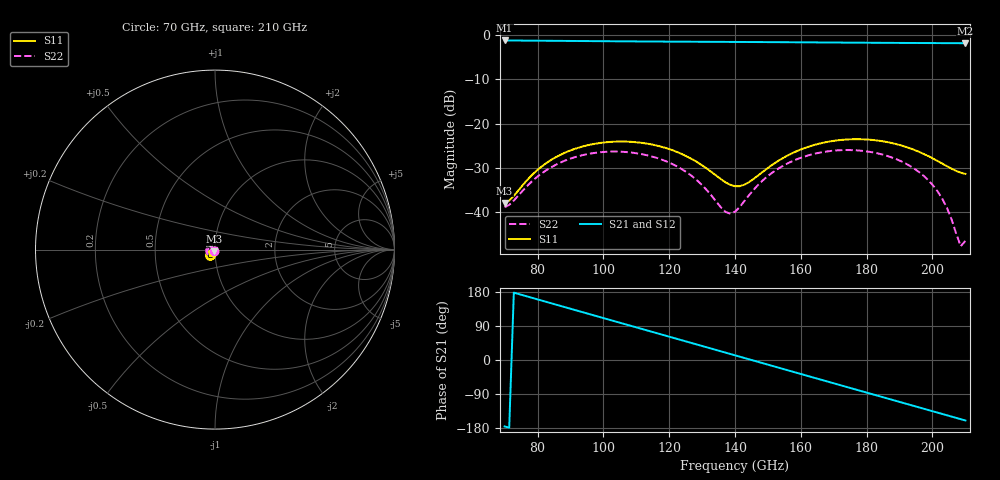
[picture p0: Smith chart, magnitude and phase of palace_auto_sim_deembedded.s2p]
! Created with skrf 1.11.0 (http://scikit-rf.org).
# GHz S DB R 50.0
!freq dBS11 angS11 dBS21 angS21 dBS12 angS12 dBS22 angS22
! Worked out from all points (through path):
!   101 points, 70 GHz to 210 GHz, reference 50 ohm
!   highest |S21| = -1.22 dB at 70 GHz (marker M1); lowest = -1.8 dB at 210 GHz (marker M2)
!   group delay of S21, straight-line fit = 6.83 ps
!   lowest |S11| = -37.9 dB at 70 GHz (marker M3), VSWR 1.03, Z = 49.3 - j1.04 ohm
!   |S11| at or under -10 dB: start of sweep to end of sweep
!   |S22| runs from -47.7 to -26.0 dB; largest |S21 - S12| = 1e-13
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70  -37.88 -124.2  -1.22 -175.3  -1.22 -175.3  -38.87 -135.0
75.6  -33.80 -89.5  -1.25 170.8  -1.25 170.8  -35.05 -105.7
82.6  -28.93 -88.6  -1.29 153.6  -1.29 153.6  -30.55 -107.3
93.8  -25.14 -106.5  -1.35 126.0  -1.35 126.0  -27.09 -128.7
100.8  -24.20 -119.9  -1.39 108.7  -1.39 108.7  -26.35 -144.5
106.4  -24.04 -130.6  -1.42 95.0  -1.42 95.0  -26.38 -157.3
117.6  -25.21 -150.3  -1.47 67.5  -1.47 67.5  -28.08 178.6
127.4  -28.20 -161.5  -1.51 43.4  -1.51 43.4  -32.13 163.4
137.2  -33.27 -148.0  -1.54 19.3  -1.54 19.3  -39.96 -170.4
140  -34.13 -133.7  -1.55 12.4  -1.55 12.4  -39.88 -142.7
144.2  -33.23 -111.2  -1.57 2.0  -1.57 2.0  -36.21 -119.7
151.2  -29.36 -96.9  -1.60 -15.2  -1.60 -15.2  -31.13 -118.9
156.8  -26.88 -98.9  -1.62 -29.0  -1.62 -29.0  -28.68 -127.5
163.8  -24.87 -107.1  -1.66 -46.3  -1.66 -46.3  -26.86 -141.6
170.8  -23.80 -117.8  -1.69 -63.5  -1.69 -63.5  -26.05 -157.2
176.4  -23.51 -126.8  -1.72 -77.2  -1.72 -77.2  -26.00 -170.1
187.6  -24.37 -143.6  -1.76 -104.7  -1.76 -104.7  -27.62 164.2
194.6  -25.96 -151.0  -1.79 -121.8  -1.79 -121.8  -30.22 149.0
200.2  -27.89 -152.4  -1.81 -135.6  -1.81 -135.6  -33.97 139.2
204.4  -29.61 -148.2  -1.82 -145.9  -1.82 -145.9  -39.02 138.3
208.6  -31.08 -137.0  -1.84 -156.2  -1.84 -156.2  -47.66 -174.6
210  -31.34 -131.7  -1.84 -159.6  -1.84 -159.6  -46.48 -135.9
